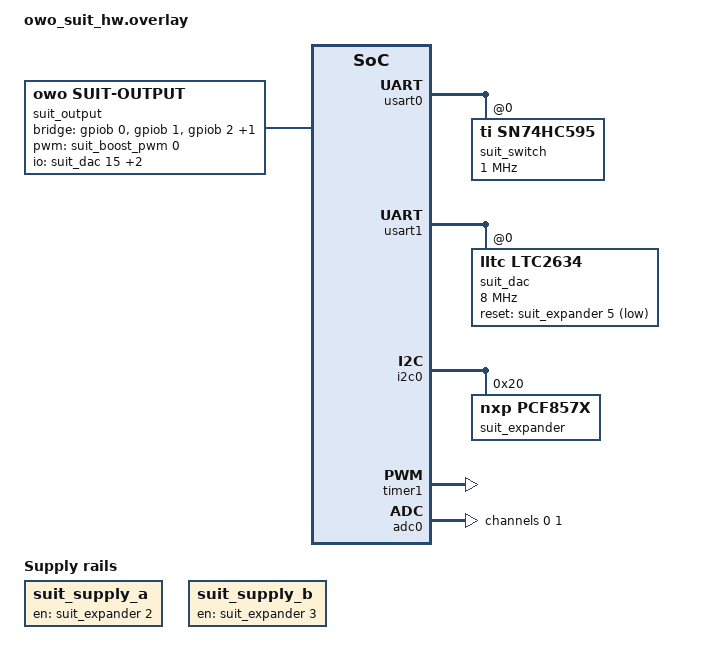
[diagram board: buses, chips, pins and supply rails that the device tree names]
/*
 * The suit's output stage on its own control unit (-DOWO_HW=ON). Parts, buses and addresses come
 * from reverse engineering the stock firmware (docs/stock-stim-path.md); the pin routes are in the
 * board (boards/owo/owo_suit/owo_suit-pinctrl.dtsi), which also holds every output pin off from
 * the GPIO driver's start (docs/suit-board.md). Nothing here is confirmed on hardware.
 */
#include <zephyr/dt-bindings/gpio/gpio.h>
#include <zephyr/dt-bindings/pwm/pwm.h>
#include <zephyr/dt-bindings/adc/adc.h>
#include <zephyr/dt-bindings/adc/silabs-adc.h>

/*
 * Channel switch: a 32-bit shift-register chain as a stock GPIO controller. The chip select is the
 * chain's latch (PC3, idle high = latched), which is exactly how ti,sn74hc595 uses it. The
 * chain's output is wired back to MISO, so the driver verifies each write by read-back.
 */
&usart0 {
	compatible = "silabs,usart-spi";
	#address-cells = <1>;
	#size-cells = <0>;
	cs-gpios = <&gpioc 3 GPIO_ACTIVE_LOW>;
	status = "okay";

	suit_switch: switch@0 {
		compatible = "ti,sn74hc595";
		reg = <0>;
		spi-max-frequency = <1000000>;
		gpio-controller;
		#gpio-cells = <2>;
		ngpios = <32>;
		verify-readback;
	};
};

/* Amplitude DAC: USART1 as SPI mode 0, CS = PA5, /CLR on the expander. */
&usart1 {
	compatible = "silabs,usart-spi";
	#address-cells = <1>;
	#size-cells = <0>;
	cs-gpios = <&gpioa 5 GPIO_ACTIVE_LOW>;
	status = "okay";

	suit_dac: dac@0 {
		compatible = "lltc,ltc2634";
		reg = <0>;
		spi-max-frequency = <8000000>;
		#io-channel-cells = <1>;
		reset-gpios = <&suit_expander 5 GPIO_ACTIVE_LOW>;
	};
};

/* PCF8575-class expander (8-bit write address 0x40 => 7-bit 0x20). */
&i2c0 {
	status = "okay";

	suit_expander: gpio@20 {
		compatible = "nxp,pcf857x";
		reg = <0x20>;
		gpio-controller;
		#gpio-cells = <2>;
		ngpios = <16>;
	};
};

/*
 * Boost converter PWM on the 16-bit TIMER1, CC0 (PC7), as in the stock firmware. At 4 kHz from
 * EM01GRPACLK (76.8 MHz) the period is 19200 counts: no prescaler needed.
 */
&timer1 {
	status = "okay";

	suit_boost_pwm: pwm {
		status = "okay";
		pinctrl-0 = <&timer1_suit_boost>;
		pinctrl-names = "default";
	};
};

&adc0 {
	#address-cells = <1>;
	#size-cells = <0>;
	status = "okay";

	/*
	 * Feedback on PD2. Gain 1, VDD reference (3.3 V), 12 bit, like the stock firmware, whose
	 * IADC default input is 0xB2 (PD2) with the feedback scaling; it reads its x133/33 battery
	 * divider on 0xB3 (PD3) (docs/stock-stim-path.md).
	 */
	channel@0 {
		reg = <0>;
		zephyr,acquisition-time = <ADC_ACQ_TIME_DEFAULT>;
		zephyr,gain = "ADC_GAIN_1";
		zephyr,input-positive = <IADC_INPUT_PD2>;
		zephyr,reference = "ADC_REF_VDD_1";
		zephyr,resolution = <12>;
		zephyr,vref-mv = <3300>;
	};

	/*
	 * Battery divider on PD3 (pack x 33/133, as the stock firmware scales it). Unlike the stock
	 * firmware (VDD reference) it is measured against the IADC's internal 1.21 V band-gap
	 * reference, so the reading does not depend on the supply that sags with the pack. Gain 1/2
	 * gives a 2.42 V full scale: a 2-cell pack at 8.4 V puts 2.08 V on the pin.
	 */
	channel@1 {
		reg = <1>;
		zephyr,acquisition-time = <ADC_ACQ_TIME_DEFAULT>;
		zephyr,gain = "ADC_GAIN_1_2";
		zephyr,input-positive = <IADC_INPUT_PD3>;
		zephyr,reference = "ADC_REF_INTERNAL";
		zephyr,resolution = <12>;
		zephyr,vref-mv = <1210>;
	};
};

/* Supply enables behind the expander (P2, P3): plain regulators. */
/ {
	suit_supply_a: suit-supply-a {
		compatible = "regulator-fixed";
		regulator-name = "suit-supply-a";
		enable-gpios = <&suit_expander 2 GPIO_ACTIVE_HIGH>;
	};

	suit_supply_b: suit-supply-b {
		compatible = "regulator-fixed";
		regulator-name = "suit-supply-b";
		enable-gpios = <&suit_expander 3 GPIO_ACTIVE_HIGH>;
	};

	suit_output: suit-output {
		compatible = "owo,suit-output";
		/* PB0..PB3: high side A, high side B, low side A, low side B */
		bridge-gpios = <&gpiob 0 GPIO_ACTIVE_HIGH>, <&gpiob 1 GPIO_ACTIVE_HIGH>,
			       <&gpiob 2 GPIO_ACTIVE_HIGH>, <&gpiob 3 GPIO_ACTIVE_HIGH>;
		supplies = <&suit_supply_a>, <&suit_supply_b>;
		switch = <&suit_switch>;
		/*
		 * One word per protocol channel 0..10: the stock switch table (recovered by
		 * emulation) in the order of the stock wire-to-slot map 5 0 6 7 1 2 3 8 4 9 (10 = test
		 * entry), so a channel selects the electrode the stock firmware selects for it
		 * (docs/stock-stim-path.md, docs/stim-simulation.md).
		 */
		switch-routes = <0x00800080 0x01000100 0x00020002 0x00080008 0x00100010 0x00400040
				 0x00010001 0x00200020 0x00040004 0x02000200 0x04000400>;
		pwms = <&suit_boost_pwm 0 PWM_HZ(4000) PWM_POLARITY_NORMAL>;
		boost-duty-percent = <50>;
		io-channels = <&suit_dac 15>, <&adc0 0>, <&adc0 1>;
		io-channel-names = "amplitude", "sense", "battery";
		battery-divider = <133 33>;
		amplitude-resolution = <12>;
		amplitude-scale = <0x12FED 0x9C4>;
		max-level = <126>;
		sense-uv-per-level = <19150>;
		sense-offset = <3>;
	};
};
